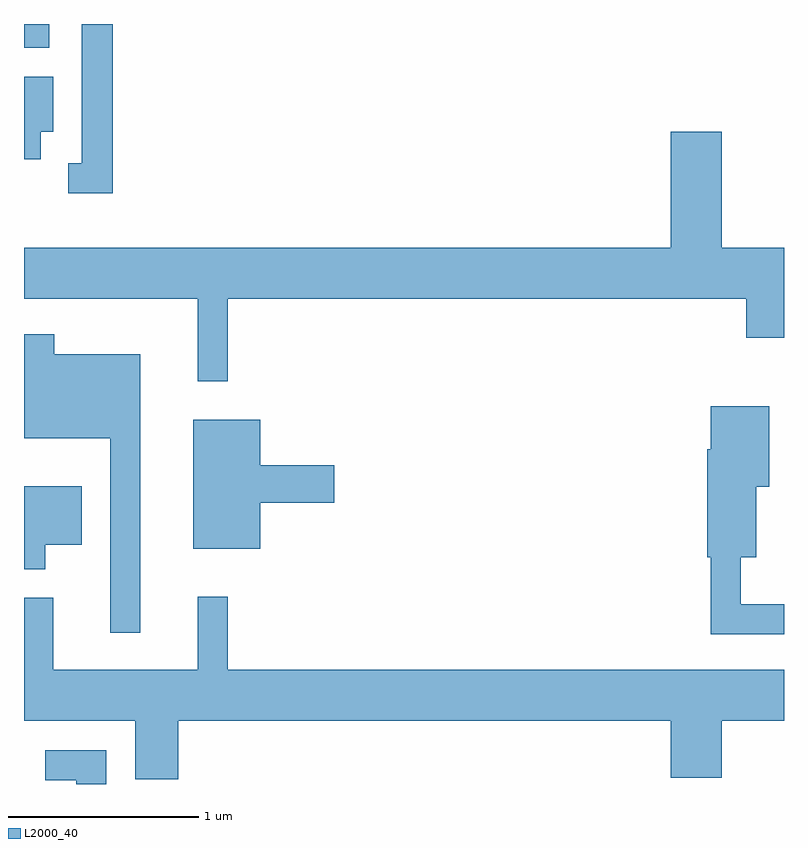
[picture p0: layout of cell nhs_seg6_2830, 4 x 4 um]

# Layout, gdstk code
import gdstk
lib = gdstk.Library(unit=1e-6, precision=1e-09)
def R(c, l, rs):  # rectangles x0, y0, x1, y1
    for r in rs: c.add(gdstk.rectangle(r[:2], r[2:], *l))
def P(c, l, *ps):  # polygons
    for p in ps: c.add(gdstk.Polygon(p, *l))
L2000_40 = (2000, 40)

nhs_seg6_2830 = lib.new_cell('nhs_seg6_2830')
R(nhs_seg6_2830, L2000_40, [(271.611,1538.036,271.744,1538.162)])
P(nhs_seg6_2830, L2000_40, [(272.079,1538.162),(271.916,1538.162),(271.916,1537.429),(271.843,1537.429),(271.843,1537.271),(272.079,1537.271)],
  [(271.699,1537.596),(271.764,1537.596),(271.764,1537.884),(271.611,1537.884),(271.611,1537.451),(271.699,1537.451)],
  [(272.684,1536.716),(275.411,1536.716),(275.411,1536.511),(275.611,1536.511),(275.611,1536.984),(275.284,1536.984),(275.284,1537.594),(275.016,1537.594),(275.016,1536.984),(271.611,1536.984),(271.611,1536.716),(272.526,1536.716),(272.526,1536.283),(272.684,1536.283)],
  [(272.224,1536.424),(271.769,1536.424),(271.769,1536.528),(271.611,1536.528),(271.611,1535.981),(272.066,1535.981),(272.066,1534.958),(272.224,1534.958)],
  [(275.611,1535.109),(275.384,1535.109),(275.384,1535.356),(275.464,1535.356),(275.464,1535.726),(275.534,1535.726),(275.534,1536.149),(275.226,1536.149),(275.226,1535.924),(275.206,1535.924),(275.206,1535.356),(275.226,1535.356),(275.226,1534.951),(275.611,1534.951)],
  [(272.854,1535.641),(273.244,1535.641),(273.244,1535.839),(272.854,1535.839),(272.854,1536.079),(272.501,1536.079),(272.501,1535.401),(272.854,1535.401)],
  [(271.724,1535.421),(271.914,1535.421),(271.914,1535.729),(271.611,1535.729),(271.611,1535.291),(271.724,1535.291)],
  [(272.424,1534.496),(275.016,1534.496),(275.016,1534.196),(275.284,1534.196),(275.284,1534.496),(275.611,1534.496),(275.611,1534.764),(272.684,1534.764),(272.684,1535.148),(272.526,1535.148),(272.526,1534.764),(271.764,1534.764),(271.764,1535.143),(271.611,1535.143),(271.611,1534.496),(272.196,1534.496),(272.196,1534.186),(272.424,1534.186)],
  [(272.044,1534.339),(271.723,1534.339),(271.723,1534.181),(271.886,1534.181),(271.886,1534.162),(272.044,1534.162)])

lib.write_gds('nhs_seg6_2830.gds')
